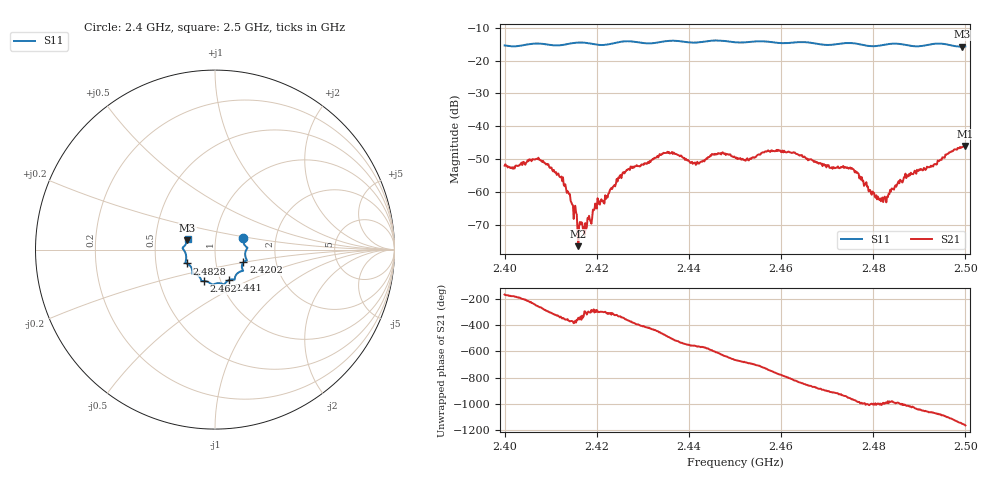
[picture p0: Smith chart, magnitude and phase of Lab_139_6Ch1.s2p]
# Hz S RI R 50
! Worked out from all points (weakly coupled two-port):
!   601 points, 2.4 GHz to 2.5 GHz, reference 50 ohm
!   highest |S21| = -45.96 dB at 2.5 GHz (marker M1); lowest = -76.3 dB at 2.416 GHz (marker M2)
!   lowest |S11| = -15.8 dB at 2.4993 GHz (marker M3), VSWR 1.39, Z = 36.5 + j3.85 ohm
!   |S11| at or under -10 dB: start of sweep to end of sweep
!   S12 and S22 are empty: the file has one direction only
!   S11 on the Smith chart (normalised r, x): 2.4 GHz: 1.36, +0.18; 2.4202 GHz: 1.36, -0.20; 2.441 GHz: 1.10, -0.39; 2.462 GHz: 0.84, -0.30; 2.4828 GHz: 0.72, -0.11; 2.5 GHz: 0.73, +0.09
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2.4e9  0.1574 0.0628  -0.00248 -0.000543  0 0  0 0
2.406833e9  0.1808 0.0104  -0.00103 0.00304  0 0  0 0
2.409667e9  0.1733 -0.00282  0.00128 0.00207  0 0  0 0
2.412667e9  0.1689 -0.0359  0.00164 0.000411  0 0  0 0
2.416e9  0.1779 -0.0589  0.000147 4.09e-05  0 0  0 0
2.416667e9  0.1777 -0.0601  0.000352 1.58e-06  0 0  0 0
2.4175e9  0.1754 -0.0613  0.000155 0.000305  0 0  0 0
2.420167e9  0.1584 -0.0708  0.000403 0.000706  0 0  0 0
2.426167e9  0.1569 -0.1173  0.00204 0.000143  0 0  0 0
2.433333e9  0.1123 -0.1511  6.97e-05 -0.00338  0 0  0 0
2.441e9  0.0785 -0.1697  -0.00266 0.000842  0 0  0 0
2.446833e9  0.0491 -0.1945  -0.000563 0.00389  0 0  0 0
2.45e9  0.0284 -0.1872  0.00201 0.00273  0 0  0 0
2.462e9  -0.0604 -0.1753  0.000252 -0.00402  0 0  0 0
2.466667e9  -0.0779 -0.1682  -0.00263 -0.00166  0 0  0 0
2.475333e9  -0.1266 -0.1334  -0.000934 0.00215  0 0  0 0
2.480833e9  -0.1414 -0.0874  0.000149 0.000768  0 0  0 0
2.482833e9  -0.1574 -0.0773  2.91e-06 0.000704  0 0  0 0
2.483333e9  -0.1606 -0.0759  9.11e-05 0.000947  0 0  0 0
2.487333e9  -0.1613 -0.057  0.000751 0.0016  0 0  0 0
2.499333e9  -0.1533 0.0512  0.00141 -0.00465  0 0  0 0
2.5e9  -0.1519 0.0611  0.000447 -0.00502  0 0  0 0
